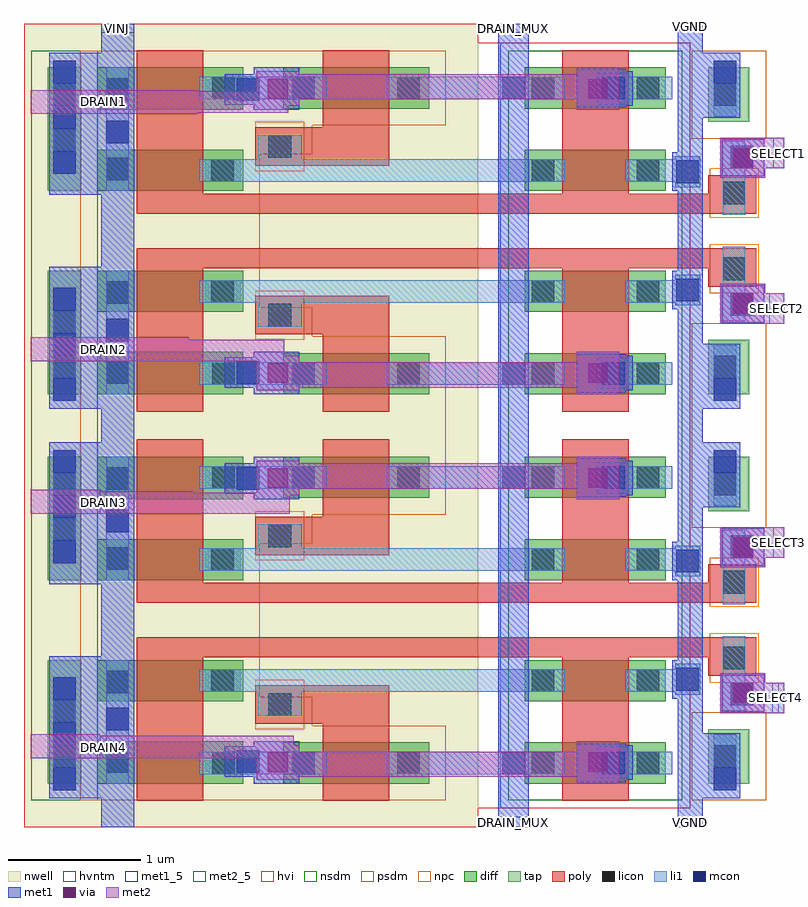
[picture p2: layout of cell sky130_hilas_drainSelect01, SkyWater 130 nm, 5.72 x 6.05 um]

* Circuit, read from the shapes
.subckt sky130_hilas_drainSelect01 DRAIN1 DRAIN2 DRAIN3 DRAIN4 DRAIN_MUX SELECT1 SELECT2 SELECT3 SELECT4 VGND VINJ
XM1 DRAIN4 SELECT4 DRAIN_MUX VGND sky130_fd_pr__nfet_g5v0d10v5 w=0.31 l=0.5
XM2 VGND SELECT4 n1 VGND sky130_fd_pr__nfet_g5v0d10v5 w=0.31 l=0.5
XM3 VGND SELECT3 n2 VGND sky130_fd_pr__nfet_g5v0d10v5 w=0.31 l=0.5
XM4 DRAIN3 SELECT3 DRAIN_MUX VGND sky130_fd_pr__nfet_g5v0d10v5 w=0.31 l=0.5
XM5 DRAIN2 SELECT2 DRAIN_MUX VGND sky130_fd_pr__nfet_g5v0d10v5 w=0.31 l=0.5
XM6 VGND SELECT2 n3 VGND sky130_fd_pr__nfet_g5v0d10v5 w=0.31 l=0.5
XM7 VGND SELECT1 n4 VGND sky130_fd_pr__nfet_g5v0d10v5 w=0.31 l=0.5
XM8 DRAIN1 SELECT1 DRAIN_MUX VGND sky130_fd_pr__nfet_g5v0d10v5 w=0.31 l=0.5
XM9 DRAIN4 SELECT4 VINJ VINJ sky130_fd_pr__pfet_g5v0d10v5 w=0.32 l=0.5
XM10 n1 SELECT4 VINJ VINJ sky130_fd_pr__pfet_g5v0d10v5 w=0.31 l=0.5
XM11 n2 SELECT3 VINJ VINJ sky130_fd_pr__pfet_g5v0d10v5 w=0.31 l=0.5
XM12 DRAIN3 SELECT3 VINJ VINJ sky130_fd_pr__pfet_g5v0d10v5 w=0.32 l=0.5
XM13 DRAIN2 SELECT2 VINJ VINJ sky130_fd_pr__pfet_g5v0d10v5 w=0.32 l=0.5
XM14 n3 SELECT2 VINJ VINJ sky130_fd_pr__pfet_g5v0d10v5 w=0.31 l=0.5
XM15 n4 SELECT1 VINJ VINJ sky130_fd_pr__pfet_g5v0d10v5 w=0.31 l=0.5
XM16 DRAIN1 SELECT1 VINJ VINJ sky130_fd_pr__pfet_g5v0d10v5 w=0.32 l=0.5
XM17 DRAIN_MUX n1 DRAIN4 VINJ sky130_fd_pr__pfet_g5v0d10v5 w=0.31 l=0.5
XM18 DRAIN_MUX n2 DRAIN3 VINJ sky130_fd_pr__pfet_g5v0d10v5 w=0.31 l=0.5
XM19 DRAIN_MUX n3 DRAIN2 VINJ sky130_fd_pr__pfet_g5v0d10v5 w=0.31 l=0.5
XM20 DRAIN_MUX n4 DRAIN1 VINJ sky130_fd_pr__pfet_g5v0d10v5 w=0.31 l=0.5
.ends

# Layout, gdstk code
import gdstk
lib = gdstk.Library(unit=1e-6, precision=1e-09)
def R(c, l, rs):  # rectangles x0, y0, x1, y1
    for r in rs: c.add(gdstk.rectangle(r[:2], r[2:], *l))
def A(c, l, x, y, w, h, nx, ny, dx, dy):  # array of equal rectangles
    R(c, l, [(x+i*dx, y+j*dy, x+i*dx+w, y+j*dy+h) for i in range(nx) for j in range(ny)])
nwell = (64, 20)
diff = (65, 20)
tap = (65, 44)
poly = (66, 20)
licon = (66, 44)
li1 = (67, 20)
mcon = (67, 44)
met1_5 = (68, 5)
met1 = (68, 20)
via = (68, 44)
met2_5 = (69, 5)
met2 = (69, 20)
hvi = (75, 20)
nsdm = (93, 44)
psdm = (94, 20)
npc = (95, 20)
hvntm = (125, 20)

sky130_hilas_li2m1 = lib.new_cell('sky130_hilas_li2m1')
R(sky130_hilas_li2m1, li1, [(-0.08,-0.05,0.11,0.18)])
R(sky130_hilas_li2m1, mcon, [(-0.07,-0.02,0.1,0.15)])
R(sky130_hilas_li2m1, met1, [(-0.1,-0.08,0.13,0.21)])

sky130_hilas_tgatevinj01 = lib.new_cell('sky130_hilas_TgateVinj01')
R(sky130_hilas_tgatevinj01, nwell, [(-2.32,-0.4,1.1,1.19)])
R(sky130_hilas_tgatevinj01, diff, [(-1.77,-0.07,-0.67,0.25), (-0.37,-0.07,0.73,0.24), (1.45,-0.07,2.51,0.24), (-1.77,0.55,-0.67,0.86), (1.45,0.55,2.51,0.86)])
R(sky130_hilas_tgatevinj01, tap, [(-2.14,-0.07,-1.89,0.86), (2.83,-0.07,3.14,0.34)])
R(sky130_hilas_tgatevinj01, poly, [(-1.47,-0.2,-0.97,0.88), (-0.07,-0.2,0.43,0.38), (1.73,-0.2,2.23,0.88), (-0.58,0.38,0.43,0.67), (2.83,0.74,3.19,0.88), (-1.47,0.88,3.19,1.03)])
R(sky130_hilas_tgatevinj01, licon, [(-0.905,0,-0.735,0.17), (-0.3,0,-0.13,0.17), (0.49,0,0.66,0.17), (1.5,0,1.67,0.17), (2.29,0,2.46,0.17), (-1.7,0.01,-1.53,0.18), (-2.1,0.05,-1.93,0.22), (2.87,0.05,3.04,0.22), (-2.1,0.39,-1.93,0.56), (-0.48,0.44,-0.31,0.61), (-1.7,0.61,-1.53,0.78), (-0.91,0.62,-0.74,0.79), (1.5,0.62,1.67,0.79), (2.29,0.62,2.46,0.79), (2.94,0.79,3.11,0.96)])
R(sky130_hilas_tgatevinj01, li1, [(-2.1,-0.12,-1.93,0.73), (2.87,-0.12,3.04,0.3), (-1.7,-0.07,-1.53,0.86), (1.99,-0.03,2.23,0), (-1,0,-0.04,0.17), (0.41,0,1.75,0.17), (1.99,0,2.56,0.17), (-0.72,0.17,-0.55,0.18), (1.99,0.17,2.23,0.21), (-0.56,0.44,-0.23,0.62), (2.94,0.48,3.11,0.52), (2.94,0.52,3.17,0.69), (-1,0.62,1.75,0.79), (2.21,0.62,2.58,0.79), (2.94,0.69,3.11,1.04)])
A(sky130_hilas_tgatevinj01, mcon, -2.1, -0.12, 0.17, 0.17, 1, 3, 0, 0.34)
R(sky130_hilas_tgatevinj01, mcon, [(2.87,-0.12,3.04,0.05), (1.28,0,1.45,0.17), (2.03,0,2.2,0.17), (-0.72,0.01,-0.55,0.18), (-1.7,0.33,-1.53,0.5), (3,0.52,3.17,0.69)])
R(sky130_hilas_tgatevinj01, met1, [(-1.74,-0.4,-1.49,-0.18), (1.25,-0.4,1.48,1.19), (2.6,-0.4,2.79,-0.18), (-2.13,-0.18,-1.49,0.89), (2.6,-0.18,3.07,0.31), (-0.59,-0.07,-0.25,-0.02), (1.84,-0.06,2.21,-0.04), (1.84,-0.04,2.26,0.22), (-0.81,-0.02,-0.25,0), (-0.81,0,-0.13,0.17), (-0.81,0.17,-0.25,0.21), (-0.59,0.21,-0.25,0.25), (1.84,0.22,2.21,0.23), (2.6,0.31,2.79,1.19), (2.93,0.47,3.25,0.75), (-1.74,0.89,-1.49,1.19)])
R(sky130_hilas_tgatevinj01, via, [(-0.485,0.015,-0.335,0.165), (1.925,0.015,2.075,0.165), (3.015,0.535,3.165,0.685)])
R(sky130_hilas_tgatevinj01, met2, [(1.84,-0.07,2.16,-0.02), (-0.57,-0.04,-0.25,-0.02), (-0.57,-0.02,2.16,0.17), (-0.57,0.17,-0.25,0.22), (1.84,0.17,2.16,0.25), (2.92,0.46,3.36,0.69), (2.92,0.69,3.26,0.76)])
R(sky130_hilas_tgatevinj01, hvi, [(-2.32,-0.4,1.1,-0.255), (-2.32,-0.255,2.695,1.045), (-2.32,1.045,1.1,1.19)])
R(sky130_hilas_tgatevinj01, nsdm, [(-2.265,-0.195,-1.765,0.985), (1.325,-0.195,2.635,0.985)])
R(sky130_hilas_tgatevinj01, psdm, [(-1.895,-0.195,0.855,0.365), (2.705,-0.195,3.265,0.465), (-1.895,0.365,-0.15,0.585), (-1.895,0.585,-0.545,0.985)])
R(sky130_hilas_tgatevinj01, npc, [(-0.58,0.34,-0.21,0.71), (2.84,0.69,3.21,1.06)])
R(sky130_hilas_tgatevinj01, hvntm, [(1.265,-0.255,2.695,1.045)])
sky130_hilas_tgatevinj01.add(gdstk.Reference(sky130_hilas_li2m1, (2.66,0.65)))

sky130_hilas_drainselect = lib.new_cell('sky130_hilas_drainSelect01')
R(sky130_hilas_drainselect, met1_5, [(14.07,0.05,14.3,0.13), (15.42,0.05,15.61,0.12), (11.08,6.03,11.33,6.1), (14.07,6.03,14.3,6.1), (15.42,6.05,15.61,6.1)])
R(sky130_hilas_drainselect, met1, [(14.07,0.05,14.3,0.13), (15.42,0.05,15.61,0.12), (11.08,6.03,11.33,6.1), (14.07,6.03,14.3,6.1), (15.42,6.05,15.61,6.1)])
R(sky130_hilas_drainselect, met2_5, [(11.07,0.57,11.12,0.74), (16.13,0.91,16.18,1.14), (16.14,2.08,16.22,2.31), (11.07,2.41,11.12,2.58), (11.07,3.56,11.12,3.74), (16.11,3.84,16.22,4.07), (16.14,5.01,16.22,5.24), (11.07,5.42,11.12,5.6)])
R(sky130_hilas_drainselect, met2, [(10.55,0.57,12.53,0.74), (10.55,0.74,11.07,0.75), (16.13,0.91,16.22,1.14), (16.14,2.08,16.22,2.31), (10.55,2.41,12.5,2.57), (10.55,2.57,11.77,2.58), (10.55,2.58,11.07,2.59), (10.55,3.56,12.46,3.72), (10.55,3.72,11.74,3.74), (16.11,3.84,16.22,4.07), (16.14,5.01,16.22,5.24), (10.55,5.42,11.8,5.43), (10.55,5.43,12.49,5.59), (10.55,5.59,11.8,5.6)])
R(sky130_hilas_drainselect, hvi, [(13.92,1.495,15.515,1.725), (13.92,3.025,15.515,3.125), (13.92,4.425,15.515,4.655)])
R(sky130_hilas_drainselect, nsdm, [(10.555,1.435,11.055,1.785), (14.145,1.435,15.455,1.785), (10.555,2.965,11.055,3.185), (14.145,2.965,15.455,3.185), (10.555,4.365,11.055,4.715), (14.145,4.365,15.455,4.715)])
R(sky130_hilas_drainselect, psdm, [(10.925,1.435,12.275,1.785), (10.925,2.965,13.675,3.185), (15.525,2.965,16.085,3.185), (10.925,4.365,12.275,4.715)])
R(sky130_hilas_drainselect, hvntm, [(14.085,1.495,15.515,1.725), (14.085,3.025,15.515,3.125), (14.085,4.425,15.515,4.655)])
sky130_hilas_drainselect.add(gdstk.Reference(sky130_hilas_tgatevinj01, (12.82,0.45)))
sky130_hilas_drainselect.add(gdstk.Reference(sky130_hilas_tgatevinj01, (12.82,5.7), x_reflection=True))
sky130_hilas_drainselect.add(gdstk.Reference(sky130_hilas_tgatevinj01, (12.82,2.77), x_reflection=True))
sky130_hilas_drainselect.add(gdstk.Reference(sky130_hilas_tgatevinj01, (12.82,3.38)))
sky130_hilas_drainselect.add(gdstk.Label('DRAIN4', (11.095,0.655), layer=69, texttype=5))
sky130_hilas_drainselect.add(gdstk.Label('DRAIN3', (11.095,2.495), layer=69, texttype=5))
sky130_hilas_drainselect.add(gdstk.Label('DRAIN2', (11.095,3.65), layer=69, texttype=5))
sky130_hilas_drainselect.add(gdstk.Label('DRAIN1', (11.095,5.51), layer=69, texttype=5))
sky130_hilas_drainselect.add(gdstk.Label('VINJ', (11.205,6.065), layer=68, texttype=5))
sky130_hilas_drainselect.add(gdstk.Label('DRAIN_MUX', (14.185,6.065), layer=68, texttype=5))
sky130_hilas_drainselect.add(gdstk.Label('DRAIN_MUX', (14.185,0.09), layer=68, texttype=5))
sky130_hilas_drainselect.add(gdstk.Label('VGND', (15.515,0.085), layer=68, texttype=5))
sky130_hilas_drainselect.add(gdstk.Label('VGND', (15.515,6.075), layer=68, texttype=5))
sky130_hilas_drainselect.add(gdstk.Label('SELECT4', (16.155,1.025), layer=69, texttype=5))
sky130_hilas_drainselect.add(gdstk.Label('SELECT3', (16.18,2.195), layer=69, texttype=5))
sky130_hilas_drainselect.add(gdstk.Label('SELECT2', (16.165,3.955), layer=69, texttype=5))
sky130_hilas_drainselect.add(gdstk.Label('SELECT1', (16.18,5.125), layer=69, texttype=5))

lib.write_gds('sky130_hilas_drainSelect01.gds')
